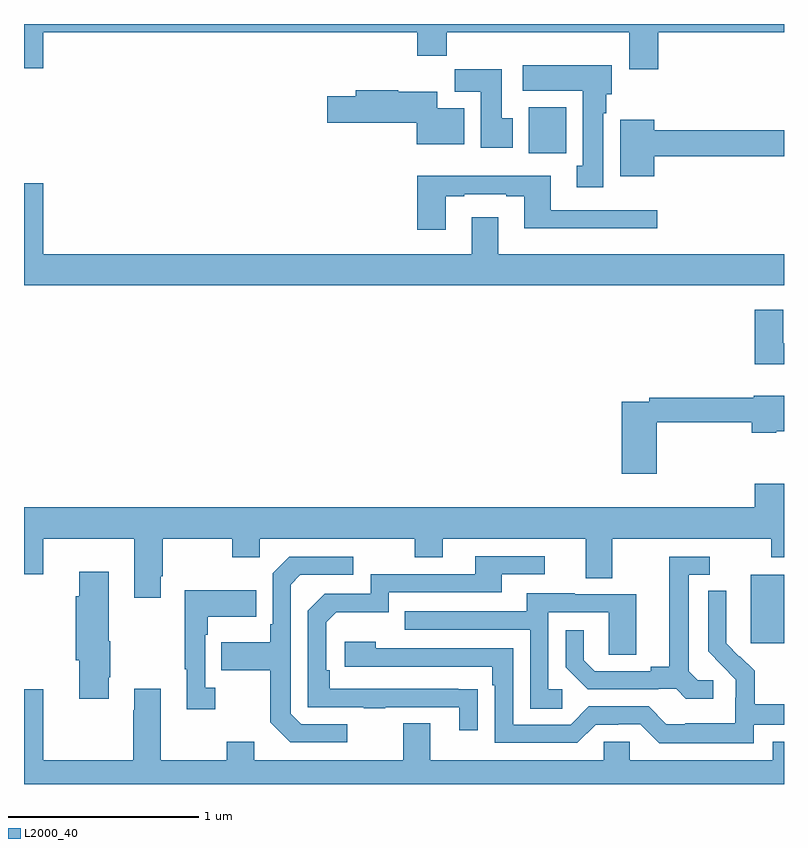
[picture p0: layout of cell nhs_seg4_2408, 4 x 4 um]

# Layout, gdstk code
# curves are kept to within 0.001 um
import gdstk
lib = gdstk.Library(unit=1e-6, precision=1e-09)
def R(c, l, rs):  # rectangles x0, y0, x1, y1
    for r in rs: c.add(gdstk.rectangle(r[:2], r[2:], *l))
def P(c, l, *ps):  # polygons
    for p in ps: c.add(gdstk.Polygon(p, *l))
L2000_40 = (2000, 40)

nhs_seg4_2408 = lib.new_cell('nhs_seg4_2408')
R(nhs_seg4_2408, L2000_40, [(240.824,757.641,241,758.002), (239.657,760.22,239.854,760.462)])
P(nhs_seg4_2408, L2000_40, [(240.338,760.856),(241,760.856),(241,760.9),(237,760.9),(237,760.668),(237.1,760.668),(237.1,760.856),(239.069,760.856),(239.069,760.732),(239.225,760.732),(239.225,760.856),(240.185,760.856),(240.185,760.662),(240.338,760.662)],
  [(240.049,760.43),(240.064,760.43),(240.064,760.53),(240.094,760.53),(240.094,760.684),(239.625,760.684),(239.625,760.55),(239.942,760.55),(239.942,760.154),(239.909,760.154),(239.909,760.041),(240.049,760.041)],
  [(239.572,760.404),(239.515,760.404),(239.515,760.663),(239.266,760.663),(239.266,760.544),(239.405,760.544),(239.405,760.248),(239.572,760.248)],
  [(239.317,760.456),(239.176,760.456),(239.176,760.543),(238.97,760.543),(238.97,760.551),(238.745,760.551),(238.745,760.521),(238.596,760.521),(238.596,760.379),(239.066,760.379),(239.066,760.268),(239.317,760.268)],
  [(240.316,760.204),(241,760.204),(241,760.34),(240.316,760.34),(240.316,760.396),(240.137,760.396),(240.137,760.1),(240.316,760.1)],
  [(239.221,759.993),(239.317,759.993),(239.317,760.005),(239.537,760.005),(239.537,759.993),(239.633,759.993),(239.633,759.824),(240.334,759.824),(240.334,759.921),(239.773,759.921),(239.773,760.102),(239.069,760.102),(239.069,759.816),(239.221,759.816)],
  [(241,759.688),(239.497,759.688),(239.497,759.883),(239.357,759.883),(239.357,759.688),(237.1,759.688),(237.1,760.063),(237,760.063),(237,759.524),(241,759.524)],
  [(241,759.22),(240.997,759.22),(240.997,759.397),(240.845,759.397),(240.845,759.11),(241,759.11)],
  [(240.329,758.805),(240.83,758.805),(240.83,758.75),(240.96,758.75),(240.96,758.756),(241,758.756),(241,758.944),(240.842,758.944),(240.842,758.933),(240.292,758.933),(240.292,758.913),(240.146,758.913),(240.146,758.532),(240.329,758.532)],
  [(237.721,757.993),(237.729,757.993),(237.729,758.192),(238.096,758.192),(238.096,758.093),(238.242,758.093),(238.242,758.192),(239.056,758.192),(239.056,758.093),(239.203,758.093),(239.203,758.192),(239.957,758.192),(239.957,757.984),(240.097,757.984),(240.097,758.192),(240.934,758.192),(240.934,758.093),(241,758.093),(241,758.48),(240.845,758.48),(240.845,758.356),(237,758.356),(237,758.004),(237.1,758.004),(237.1,758.192),(237.581,758.192),(237.581,757.881),(237.721,757.881)],
  [(239.387,757.4),(238.61,757.401),(238.61,757.498),(238.59,757.498),(238.59,757.752),(238.643,757.805),(238.92,757.805),(238.92,757.908),(239.515,757.908),(239.515,758.004),(239.74,758.004),(239.74,758.1),(239.375,758.1),(239.375,758.004),(238.824,758.004),(238.824,757.902),(238.584,757.902),(238.494,757.812),(238.494,757.305),(238.789,757.305),(238.789,757.3),(238.901,757.3),(238.901,757.305),(239.291,757.305),(239.291,757.182),(239.387,757.182)],
  [(238.702,757.215),(238.458,757.215),(238.404,757.269),(238.404,757.95),(238.455,758.001),(238.732,758.001),(238.732,758.097),(238.395,758.097),(238.308,758.01),(238.308,757.741),(238.296,757.741),(238.296,757.645),(238.039,757.645),(238.039,757.498),(238.296,757.498),(238.296,757.225),(238.401,757.119),(238.702,757.119)],
  [(240.628,757.446),(240.546,757.446),(240.499,757.493),(240.499,758.001),(240.61,758.001),(240.61,758.097),(240.395,758.097),(240.395,757.517),(240.299,757.517),(240.299,757.494),(240.004,757.494),(239.947,757.551),(239.947,757.708),(239.85,757.708),(239.85,757.514),(239.966,757.398),(240.338,757.398),(240.338,757.401),(240.432,757.401),(240.484,757.349),(240.628,757.349)],
  [(237.445,757.462),(237.453,757.462),(237.453,757.651),(237.445,757.651),(237.445,758.017),(237.29,758.017),(237.29,757.887),(237.272,757.887),(237.272,757.551),(237.29,757.551),(237.29,757.35),(237.445,757.35)],
  [(238.006,757.406),(237.954,757.406),(237.954,757.685),(237.967,757.685),(237.967,757.781),(238.223,757.781),(238.223,757.921),(237.846,757.921),(237.846,757.505),(237.857,757.505),(237.857,757.293),(238.006,757.293)],
  [(240.84,757.212),(241,757.212),(241,757.321),(240.845,757.321),(240.845,757.495),(240.768,757.572),(240.765,757.569),(240.695,757.64),(240.696,757.916),(240.6,757.916),(240.6,757.598),(240.746,757.45),(240.746,757.353),(240.744,757.353),(240.744,757.219),(240.481,757.219),(240.481,757.215),(240.381,757.215),(240.288,757.308),(239.973,757.308),(239.877,757.212),(239.574,757.212),(239.574,757.614),(238.85,757.614),(238.85,757.648),(238.689,757.648),(238.689,757.518),(239.465,757.518),(239.465,757.421),(239.478,757.421),(239.478,757.116),(239.913,757.116),(240.009,757.212),(240.128,757.212),(240.128,757.215),(240.243,757.215),(240.343,757.115),(240.84,757.115)],
  [(239.833,757.398),(239.76,757.398),(239.76,757.803),(240.078,757.803),(240.078,757.579),(240.223,757.579),(240.223,757.899),(239.899,757.899),(239.899,757.903),(239.645,757.903),(239.645,757.809),(239.005,757.809),(239.005,757.713),(239.664,757.713),(239.664,757.297),(239.833,757.297)],
  [(241,757.123),(240.941,757.123),(240.941,757.024),(240.189,757.024),(240.189,757.122),(240.051,757.122),(240.051,757.024),(239.137,757.024),(239.137,757.219),(238.997,757.219),(238.997,757.024),(238.213,757.024),(238.213,757.123),(238.066,757.123),(238.066,757.024),(237.721,757.024),(237.721,757.402),(237.581,757.402),(237.581,757.289),(237.574,757.289),(237.574,757.024),(237.1,757.024),(237.1,757.399),(237,757.399),(237,756.9),(241,756.9)])

lib.write_gds('nhs_seg4_2408.gds')
